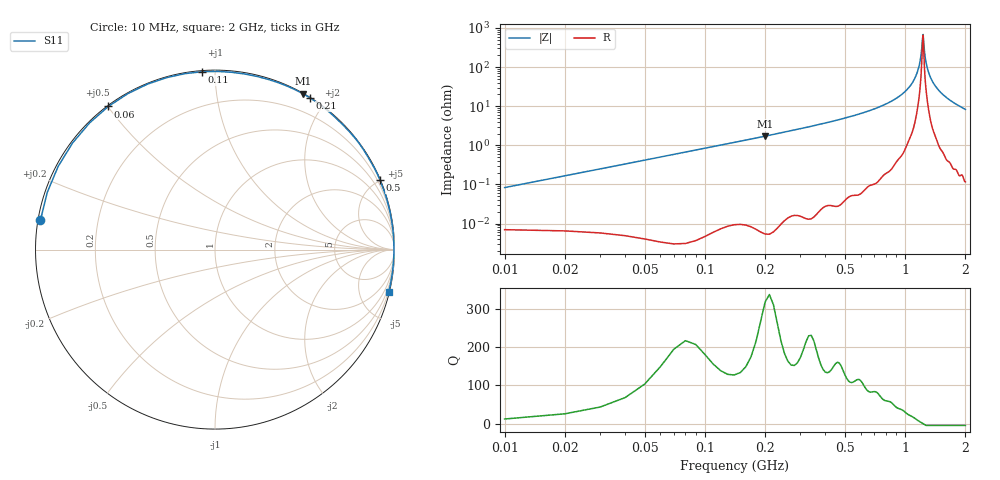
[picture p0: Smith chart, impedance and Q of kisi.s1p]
! H_s8_cap_2: PDN loop: BGA pin field to a 0402 capacitor 2 mm away
! stackup: 8-layer 1.6 mm FR-4 (generic)
! ports: 1 IC pins
! kisi-fdtd, conformal, dfine 0.07 mm, 557496 cells
# Hz S RI R 1
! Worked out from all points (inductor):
!   200 points, 10 MHz to 2 GHz, reference 1 ohm
!   read as one part to ground: L = 1.32 nH near 20 MHz
!   highest Q = 312 at 200 MHz (marker M1), where L = 1.36 nH
!   self-resonance near 1.22 GHz
!   S11 on the Smith chart (normalised r, x): 10 MHz: 0.01, +0.08; 60 MHz: 0.00, +0.50; 110 MHz: 0.01, +0.93; 210 MHz: 0.01, +1.81; 500 MHz: 0.04, +4.97; 2 GHz: 0.12, -8.29
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1e7  -0.9728 0.1622
2e7  -0.9346 0.3187
3e7  -0.8736 0.464
4e7  -0.7935 0.594
5e7  -0.6988 0.7057
6e7  -0.5944 0.7975
7e7  -0.4852 0.8693
8e7  -0.3753 0.9223
9e7  -0.2683 0.9585
1.1e8  -0.0718 0.991
1.3e8  0.0953 0.9877
1.5e8  0.2345 0.9646
1.7e8  0.351 0.9307
2e8  0.4913 0.8679
2.1e8  0.5299 0.8451
2.6e8  0.673 0.7335
3.1e8  0.7649 0.639
3.6e8  0.8277 0.556
4.3e8  0.883 0.4623
5e8  0.9193 0.3858
5.1e8  0.9232 0.3761
6.3e8  0.9576 0.2777
7.6e8  0.9776 0.1964
1.01e9  0.994 0.0797
1.26e9  0.997 -0.0109
1.51e9  0.9928 -0.0899
1.76e9  0.983 -0.1647
2e9  0.9681 -0.2368
